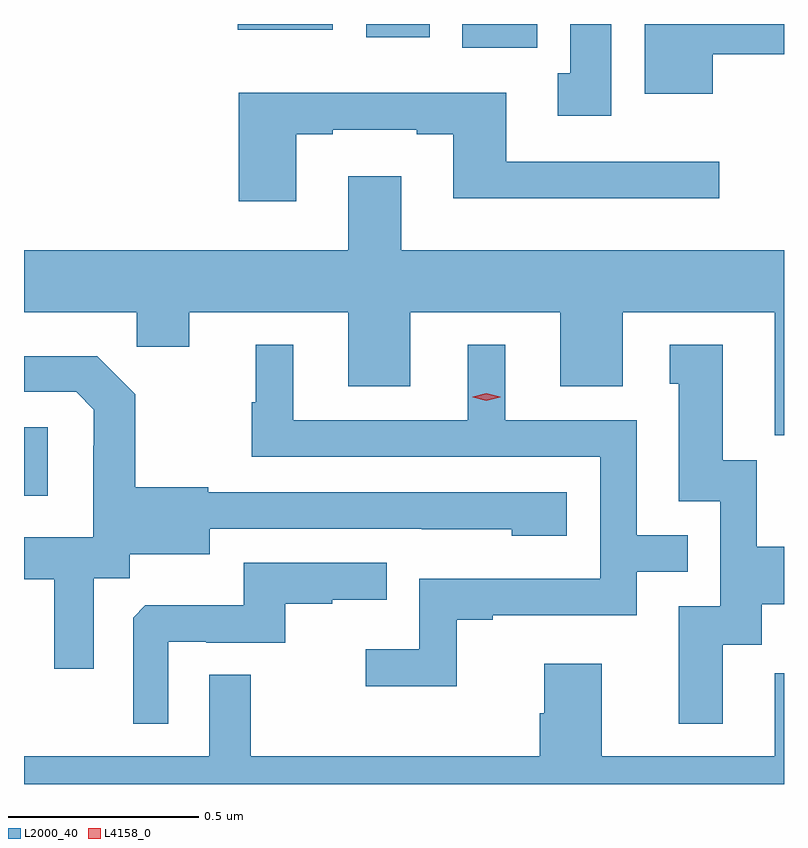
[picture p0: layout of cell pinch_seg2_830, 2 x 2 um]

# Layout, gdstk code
import gdstk
lib = gdstk.Library(unit=1e-6, precision=1e-09)
def R(c, l, rs):  # rectangles x0, y0, x1, y1
    for r in rs: c.add(gdstk.rectangle(r[:2], r[2:], *l))
def P(c, l, *ps):  # polygons
    for p in ps: c.add(gdstk.Polygon(p, *l))
L2000_40 = (2000, 40)
L4158_0 = (4158, 0)

pinch_seg2_830 = lib.new_cell('pinch_seg2_830')
R(pinch_seg2_830, L2000_40, [(670.072,615.186,670.135,615.366), (671.225,616.364,671.422,616.427), (670.973,616.392,671.14,616.427), (670.634,616.412,670.885,616.427)])
P(pinch_seg2_830, L2000_40, [(671.617,616.427),(671.51,616.427),(671.51,616.298),(671.477,616.298),(671.477,616.185),(671.617,616.185)],
  [(671.884,616.348),(672.072,616.348),(672.072,616.427),(671.705,616.427),(671.705,616.244),(671.884,616.244)],
  [(670.789,616.137),(670.885,616.137),(670.885,616.149),(671.105,616.149),(671.105,616.137),(671.201,616.137),(671.201,615.968),(671.902,615.968),(671.902,616.065),(671.341,616.065),(671.341,616.246),(670.637,616.246),(670.637,615.96),(670.789,615.96)],
  [(672.072,615.832),(671.065,615.832),(671.065,616.027),(670.925,616.027),(670.925,615.832),(670.072,615.832),(670.072,615.668),(670.369,615.668),(670.369,615.578),(670.507,615.578),(670.507,615.668),(670.925,615.668),(670.925,615.474),(671.089,615.474),(671.089,615.668),(671.483,615.668),(671.483,615.474),(671.647,615.474),(671.647,615.668),(672.047,615.668),(672.047,615.457),(672.048,615.457),(672.048,615.345),(672.072,615.345)],
  [(671.911,614.794),(672.013,614.794),(672.013,614.9),(672.072,614.9),(672.072,615.052),(672,615.052),(672,615.279),(671.911,615.279),(671.911,615.583),(671.771,615.583),(671.771,615.48),(671.795,615.48),(671.795,615.171),(671.904,615.171),(671.904,614.895),(671.795,614.895),(671.795,614.586),(671.911,614.586)],
  [(671.211,614.859),(671.305,614.859),(671.305,614.871),(671.685,614.871),(671.685,614.985),(671.819,614.985),(671.819,615.081),(671.685,615.081),(671.685,615.384),(671.338,615.384),(671.338,615.583),(671.24,615.583),(671.24,615.384),(670.78,615.384),(670.78,615.583),(670.682,615.583),(670.682,615.432),(670.671,615.432),(670.671,615.288),(671.589,615.288),(671.589,614.967),(671.112,614.967),(671.112,614.782),(670.971,614.782),(670.971,614.684),(671.211,614.684)],
  [(670.255,614.968),(670.35,614.968),(670.35,615.032),(670.561,615.032),(670.561,615.099),(671.119,615.099),(671.119,615.098),(671.355,615.098),(671.355,615.08),(671.5,615.08),(671.5,615.195),(670.557,615.195),(670.557,615.208),(670.365,615.208),(670.365,615.453),(670.265,615.553),(670.072,615.553),(670.072,615.459),(670.209,615.459),(670.256,615.412),(670.256,615.317),(670.254,615.317),(670.254,615.076),(670.072,615.076),(670.072,614.966),(670.151,614.966),(670.151,614.73),(670.255,614.73)],
  [(670.452,614.802),(670.552,614.802),(670.552,614.799),(670.76,614.799),(670.76,614.901),(670.883,614.901),(670.883,614.912),(671.027,614.912),(671.027,615.009),(670.65,615.009),(670.65,614.897),(670.391,614.897),(670.359,614.865),(670.359,614.585),(670.452,614.585)],
  [(670.669,614.714),(670.56,614.714),(670.56,614.5),(670.072,614.5),(670.072,614.427),(672.072,614.427),(672.072,614.719),(672.047,614.719),(672.047,614.5),(671.593,614.5),(671.593,614.743),(671.441,614.743),(671.441,614.613),(671.429,614.613),(671.429,614.5),(670.669,614.5)])
P(pinch_seg2_830, L4158_0, [(671.289,615.435),(671.253,615.445),(671.253,615.445),(671.253,615.446),(671.289,615.455),(671.325,615.446),(671.325,615.445),(671.325,615.445)])

lib.write_gds('pinch_seg2_830.gds')
